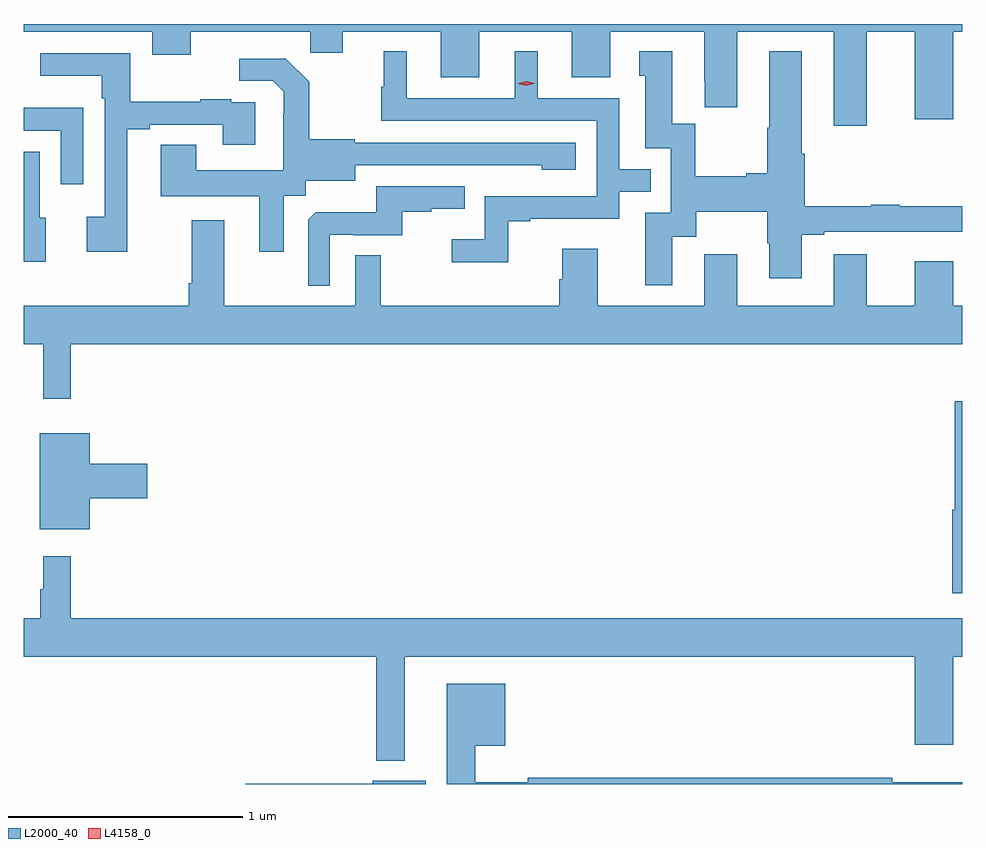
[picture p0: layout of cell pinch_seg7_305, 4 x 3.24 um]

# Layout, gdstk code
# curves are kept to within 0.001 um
import gdstk
lib = gdstk.Library(unit=1e-6, precision=1e-09)
def P(c, l, *ps):  # polygons
    for p in ps: c.add(gdstk.Polygon(p, *l))
L2000_40 = (2000, 40)
L4158_0 = (4158, 0)

pinch_seg7_305 = lib.new_cell('pinch_seg7_305')
P(pinch_seg7_305, L2000_40, [(608.359,1081.868),(608.564,1081.868),(608.564,1081.494),(608.728,1081.494),(608.728,1081.868),(608.767,1081.868),(608.767,1081.9),(604.767,1081.9),(604.767,1081.868),(605.315,1081.868),(605.315,1081.769),(605.479,1081.769),(605.479,1081.868),(605.989,1081.868),(605.989,1081.778),(606.127,1081.778),(606.127,1081.868),(606.545,1081.868),(606.545,1081.674),(606.709,1081.674),(606.709,1081.868),(607.103,1081.868),(607.103,1081.674),(607.267,1081.674),(607.267,1081.868),(607.667,1081.868),(607.667,1081.657),(607.67,1081.657),(607.67,1081.545),(607.807,1081.545),(607.807,1081.868),(608.219,1081.868),(608.219,1081.467),(608.359,1081.467)],
  [(606.831,1081.059),(606.925,1081.059),(606.925,1081.071),(607.305,1081.071),(607.305,1081.185),(607.439,1081.185),(607.439,1081.281),(607.305,1081.281),(607.305,1081.584),(606.958,1081.584),(606.958,1081.783),(606.86,1081.783),(606.86,1081.584),(606.4,1081.584),(606.4,1081.783),(606.302,1081.783),(606.302,1081.632),(606.291,1081.632),(606.291,1081.488),(607.209,1081.488),(607.209,1081.167),(606.732,1081.167),(606.732,1080.982),(606.591,1080.982),(606.591,1080.884),(606.831,1080.884)],
  [(607.531,1080.994),(607.633,1080.994),(607.633,1081.1),(607.936,1081.1),(607.936,1080.966),(607.943,1080.966),(607.943,1080.816),(608.083,1080.816),(608.083,1081.002),(608.179,1081.002),(608.179,1081.014),(608.767,1081.014),(608.767,1081.123),(608.501,1081.123),(608.501,1081.13),(608.379,1081.13),(608.379,1081.123),(608.096,1081.123),(608.096,1081.348),(608.083,1081.348),(608.083,1081.783),(607.943,1081.783),(607.943,1081.457),(607.936,1081.457),(607.936,1081.265),(607.847,1081.265),(607.847,1081.252),(607.629,1081.252),(607.629,1081.475),(607.531,1081.475),(607.531,1081.783),(607.391,1081.783),(607.391,1081.68),(607.415,1081.68),(607.415,1081.371),(607.524,1081.371),(607.524,1081.095),(607.415,1081.095),(607.415,1080.786),(607.531,1080.786)],
  [(605.209,1081.452),(605.305,1081.452),(605.305,1081.47),(605.615,1081.47),(605.615,1081.386),(605.755,1081.386),(605.755,1081.566),(605.651,1081.566),(605.651,1081.579),(605.519,1081.579),(605.519,1081.568),(605.221,1081.568),(605.221,1081.776),(604.839,1081.776),(604.839,1081.679),(605.1,1081.679),(605.1,1081.583),(605.112,1081.583),(605.112,1081.078),(605.037,1081.078),(605.037,1080.93),(605.209,1080.93)],
  [(605.875,1081.168),(605.97,1081.168),(605.97,1081.232),(606.181,1081.232),(606.181,1081.299),(606.975,1081.298),(606.975,1081.28),(607.12,1081.28),(607.12,1081.395),(606.177,1081.395),(606.177,1081.408),(605.985,1081.408),(605.985,1081.653),(605.885,1081.753),(605.685,1081.753),(605.685,1081.659),(605.829,1081.659),(605.876,1081.612),(605.876,1081.517),(605.874,1081.517),(605.874,1081.276),(605.503,1081.276),(605.503,1081.385),(605.351,1081.385),(605.351,1081.166),(605.771,1081.166),(605.771,1080.93),(605.875,1080.93)],
  [(605.022,1081.543),(604.767,1081.543),(604.767,1081.446),(604.926,1081.446),(604.926,1081.218),(605.022,1081.218)],
  [(604.861,1081.074),(604.836,1081.074),(604.836,1081.356),(604.767,1081.356),(604.767,1080.887),(604.861,1080.887)],
  [(606.072,1081.002),(606.172,1081.002),(606.172,1080.999),(606.38,1080.999),(606.38,1081.101),(606.503,1081.101),(606.503,1081.112),(606.647,1081.112),(606.647,1081.209),(606.27,1081.209),(606.27,1081.097),(606.011,1081.097),(605.979,1081.065),(605.979,1080.785),(606.072,1080.785)],
  [(604.967,1080.536),(608.767,1080.536),(608.767,1080.7),(608.728,1080.7),(608.728,1080.889),(608.564,1080.889),(608.564,1080.7),(608.359,1080.7),(608.359,1080.919),(608.219,1080.919),(608.219,1080.7),(607.807,1080.7),(607.807,1080.919),(607.667,1080.919),(607.667,1080.7),(607.213,1080.7),(607.213,1080.943),(607.061,1080.943),(607.061,1080.813),(607.049,1080.813),(607.049,1080.7),(606.289,1080.7),(606.289,1080.914),(606.18,1080.914),(606.18,1080.7),(605.623,1080.7),(605.623,1081.063),(605.483,1081.063),(605.483,1080.796),(605.471,1080.796),(605.471,1080.7),(604.767,1080.7),(604.767,1080.536),(604.85,1080.536),(604.85,1080.303),(604.967,1080.303)],
  [(608.767,1080.292),(608.735,1080.292),(608.735,1079.83),(608.723,1079.83),(608.723,1079.475),(608.767,1079.475)],
  [(605.05,1079.879),(605.293,1079.879),(605.293,1080.026),(605.05,1080.026),(605.05,1080.157),(604.835,1080.157),(604.835,1079.747),(605.05,1079.747)],
  [(606.391,1079.204),(608.564,1079.204),(608.564,1078.83),(608.728,1078.83),(608.728,1079.204),(608.767,1079.204),(608.767,1079.368),(604.967,1079.368),(604.967,1079.632),(604.85,1079.632),(604.85,1079.492),(604.839,1079.492),(604.839,1079.368),(604.767,1079.368),(604.767,1079.204),(606.27,1079.204),(606.27,1078.76),(606.391,1078.76)],
  [(608.767,1078.669),(608.468,1078.669),(608.468,1078.688),(606.916,1078.688),(606.916,1078.669),(606.691,1078.669),(606.691,1078.826),(606.82,1078.826),(606.82,1079.089),(606.569,1079.089),(606.569,1078.662),(608.767,1078.662)],
  [(606.481,1078.675),(606.254,1078.675),(606.254,1078.664),(605.711,1078.664),(605.711,1078.662),(606.481,1078.662)])
P(pinch_seg7_305, L4158_0, [(606.909,1081.637),(606.873,1081.646),(606.873,1081.646),(606.873,1081.646),(606.909,1081.657),(606.945,1081.648),(606.945,1081.648),(606.945,1081.648)])

lib.write_gds('pinch_seg7_305.gds')
